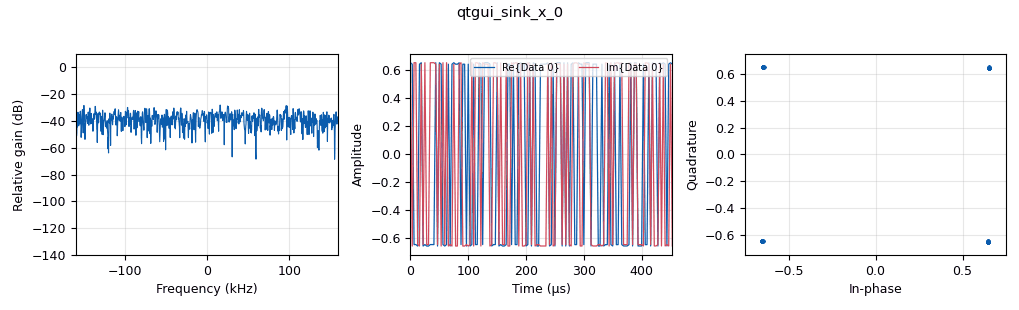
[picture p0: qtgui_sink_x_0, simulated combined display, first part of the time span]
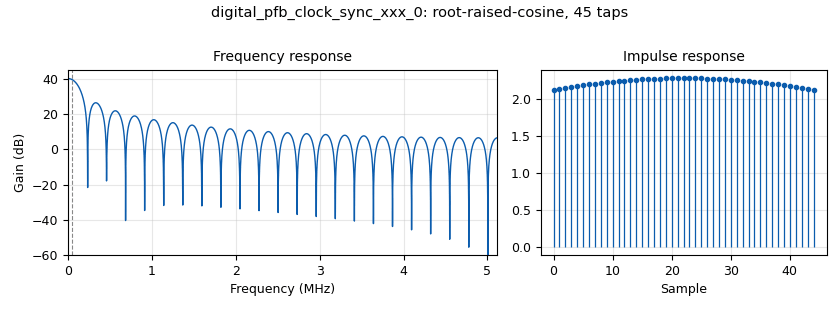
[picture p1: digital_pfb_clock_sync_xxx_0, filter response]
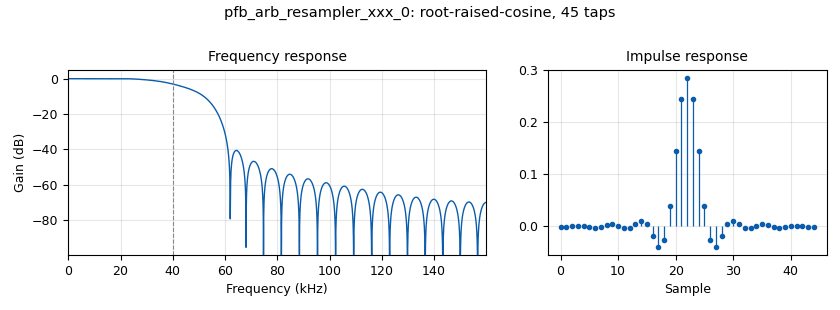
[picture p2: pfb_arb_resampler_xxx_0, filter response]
options:
  parameters:
    generate_options: qt_gui
    id: lab101
    output_language: python
    title: lab101
  states: {}

blocks:
- name: alpha
  id: variable
  parameters:
    value: '0.5'
  states: {}
- name: f_off
  id: variable
  parameters:
    value: '0.1'
  states: {}
- name: sample_rate
  id: variable
  parameters:
    value: '320000'
  states: {}
- name: sps
  id: variable
  parameters:
    value: '4'
  states: {}
- name: analog_random_source_x_0
  id: analog_random_source_x
  parameters:
    max: '4'
    min: '0'
    num_samps: '1000'
    repeat: 'True'
    type: byte
  states: {}
- name: analog_sig_source_x_0
  id: analog_sig_source_x
  parameters:
    amp: '1'
    freq: f_off
    offset: '0'
    phase: '0'
    samp_rate: sample_rate
    type: complex
    waveform: analog.GR_SIN_WAVE
  states: {}
- name: blocks_multiply_xx_0
  id: blocks_multiply_xx
  parameters:
    type: complex
  states: {}
- name: blocks_throttle_0
  id: blocks_throttle
  parameters:
    samples_per_second: sample_rate
    type: complex
  states: {}
- name: digital_chunks_to_symbols_xx_0
  id: digital_chunks_to_symbols_xx
  parameters:
    dimension: '1'
    in_type: byte
    out_type: complex
    symbol_table: (1+1j, -1+1j, 1-1j, -1-1j)
  states: {}
- name: digital_pfb_clock_sync_xxx_0
  id: digital_pfb_clock_sync_xxx
  parameters:
    filter_size: '32'
    init_phase: '16'
    loop_bw: '0.062831853'
    max_dev: '1.5'
    osps: '1'
    sps: sps
    taps: firdes.root_raised_cosine(100, 32*sample_rate, sample_rate/sps, alpha, 11*sps)
    type: ccf
  states: {}
- name: pfb_arb_resampler_xxx_0
  id: pfb_arb_resampler_xxx
  parameters:
    atten: '100'
    nfilts: '32'
    rrate: sps
    taps: firdes.root_raised_cosine(1, sample_rate, sample_rate/sps, alpha, 11*sps)
    type: ccf
  states: {}
- name: qtgui_sink_x_0
  id: qtgui_sink_x
  parameters:
    bw: sample_rate
    fc: '0'
    fftsize: '1024'
    type: complex
  states: {}

connections:
- [analog_random_source_x_0, '0', digital_chunks_to_symbols_xx_0, '0']
- [analog_sig_source_x_0, '0', blocks_multiply_xx_0, '0']
- [blocks_multiply_xx_0, '0', digital_pfb_clock_sync_xxx_0, '0']
- [blocks_throttle_0, '0', qtgui_sink_x_0, '0']
- [digital_chunks_to_symbols_xx_0, '0', pfb_arb_resampler_xxx_0, '0']
- [digital_pfb_clock_sync_xxx_0, '0', blocks_throttle_0, '0']
- [pfb_arb_resampler_xxx_0, '0', blocks_multiply_xx_0, '1']

metadata:
  file_format: 1
